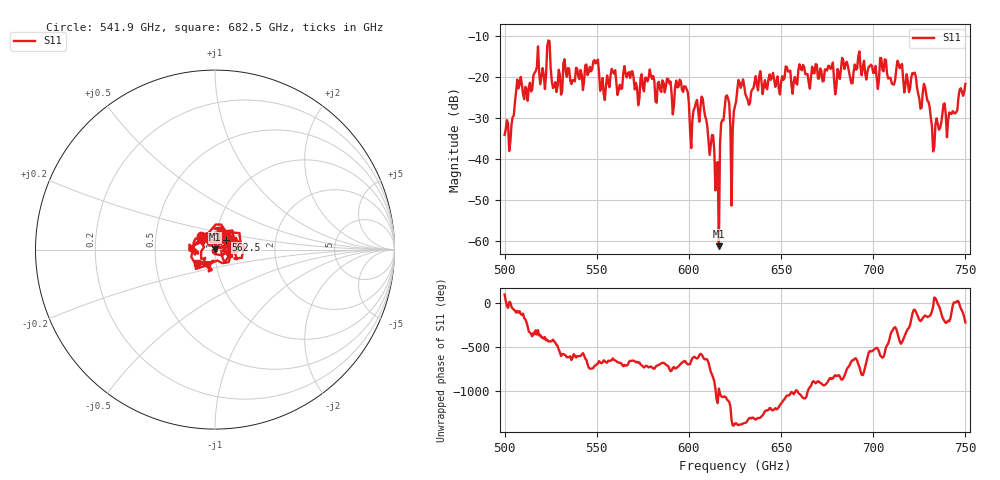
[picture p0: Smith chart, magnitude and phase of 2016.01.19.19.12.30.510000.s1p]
!Created with skrf (http://scikit-rf.org).
# GHz S RI R 50.0
!freq ReS11 ImS11
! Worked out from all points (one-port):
!   401 points, 500 GHz to 750 GHz, reference 50 ohm
!   lowest |S11| = -61.2 dB at 616.2 GHz (marker M1), VSWR 1.00, Z = 50 + j0.0825 ohm
!   |S11| at or under -10 dB: start of sweep to end of sweep
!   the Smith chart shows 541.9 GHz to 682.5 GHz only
!   S11 on the Smith chart (normalised r, x): 541.9 GHz: 0.85, +0.13; 562.5 GHz: 1.12, +0.12; 682.5 GHz: 0.81, -0.12
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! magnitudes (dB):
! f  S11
! 500 GHz  -34.0
! 503.8 GHz  -31.5
! 507.5 GHz  -22.7
! 520.6 GHz  -17.7
! 523.8 GHz  -11.0
! 526.9 GHz  -22.3
! 531.2 GHz  -23.3
! 541.9 GHz  -19.4
! 549.4 GHz  -16.6
! 553.1 GHz  -20.2
! 562.5 GHz  -21.8
! 593.8 GHz  -22.5
! 601.2 GHz  -37.2
! 607.5 GHz  -25.2
! 615 GHz  -40.9
! 616.2 GHz  -61.2
! 620 GHz  -24.7
! 623.1 GHz  -51.3
! 625 GHz  -27.0
! 628.1 GHz  -22.6
! 656.2 GHz  -24.0
! 682.5 GHz  -18.0
! 687.5 GHz  -20.1
! 714.4 GHz  -17.8
! 718.8 GHz  -20.9
! 728.8 GHz  -24.2
! 733.1 GHz  -37.0
! 750 GHz  -21.6
